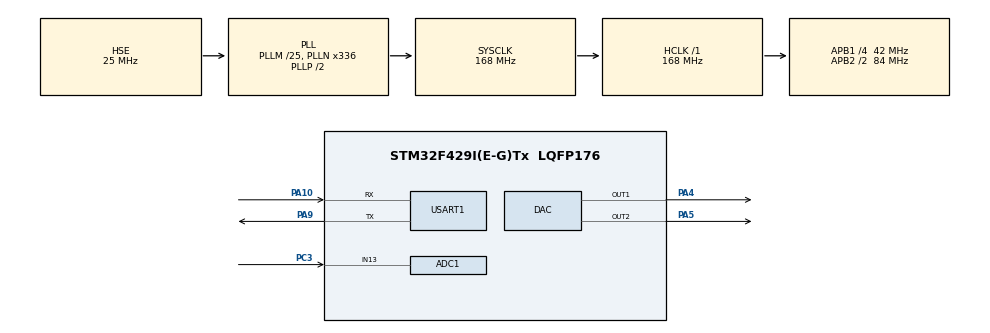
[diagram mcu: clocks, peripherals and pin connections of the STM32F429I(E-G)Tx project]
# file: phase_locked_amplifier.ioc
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ADC1.Channel-5\#ChannelRegularConversion=ADC_CHANNEL_13
ADC1.DMAContinuousRequests=ENABLE
ADC1.ExternalTrigConv=ADC_EXTERNALTRIGCONV_T2_CC2
ADC1.ExternalTrigConvEdge=ADC_EXTERNALTRIGCONVEDGE_RISING
ADC1.NbrOfConversionFlag=1
ADC1.Rank-5\#ChannelRegularConversion=1
ADC1.SamplingTime-5\#ChannelRegularConversion=ADC_SAMPLETIME_3CYCLES
ADC1.master=1
DAC.DAC_Trigger=DAC_TRIGGER_T2_TRGO
DAC.DAC_Trigger2=DAC_TRIGGER_T2_TRGO
Dma.ADC1.0.Direction=DMA_PERIPH_TO_MEMORY
Dma.ADC1.0.FIFOMode=DMA_FIFOMODE_DISABLE
Dma.ADC1.0.Instance=DMA2_Stream0
Dma.ADC1.0.MemDataAlignment=DMA_MDATAALIGN_HALFWORD
Dma.ADC1.0.MemInc=DMA_MINC_ENABLE
Dma.ADC1.0.Mode=DMA_CIRCULAR
Dma.ADC1.0.PeriphDataAlignment=DMA_PDATAALIGN_HALFWORD
Dma.ADC1.0.PeriphInc=DMA_PINC_DISABLE
Dma.ADC1.0.Priority=DMA_PRIORITY_LOW
Dma.DAC1.1.Direction=DMA_MEMORY_TO_PERIPH
Dma.DAC1.1.FIFOMode=DMA_FIFOMODE_DISABLE
Dma.DAC1.1.Instance=DMA1_Stream5
Dma.DAC1.1.MemDataAlignment=DMA_MDATAALIGN_HALFWORD
Dma.DAC1.1.MemInc=DMA_MINC_ENABLE
Dma.DAC1.1.Mode=DMA_CIRCULAR
Dma.DAC1.1.PeriphDataAlignment=DMA_PDATAALIGN_HALFWORD
Dma.DAC1.1.PeriphInc=DMA_PINC_DISABLE
Dma.DAC1.1.Priority=DMA_PRIORITY_LOW
Dma.DAC2.2.Direction=DMA_MEMORY_TO_PERIPH
Dma.DAC2.2.FIFOMode=DMA_FIFOMODE_DISABLE
Dma.DAC2.2.Instance=DMA1_Stream6
Dma.DAC2.2.MemDataAlignment=DMA_MDATAALIGN_HALFWORD
Dma.DAC2.2.MemInc=DMA_MINC_ENABLE
Dma.DAC2.2.Mode=DMA_CIRCULAR
Dma.DAC2.2.PeriphDataAlignment=DMA_PDATAALIGN_HALFWORD
Dma.DAC2.2.PeriphInc=DMA_PINC_DISABLE
Dma.DAC2.2.Priority=DMA_PRIORITY_LOW
Dma.Request0=ADC1
Dma.Request1=DAC1
Dma.Request2=DAC2
Mcu.Family=STM32F4
Mcu.Name=STM32F429I(E-G)Tx
Mcu.Package=LQFP176
NVIC.ADC_IRQn=true\:0\:0\:false\:false\:true\:true\:true\:true
NVIC.DMA1_Stream5_IRQn=true\:0\:0\:false\:false\:true\:false\:true\:true
NVIC.DMA1_Stream6_IRQn=true\:0\:0\:false\:false\:true\:false\:true\:true
NVIC.DMA2_Stream0_IRQn=true\:0\:0\:false\:false\:true\:false\:true\:true
NVIC.PriorityGroup=NVIC_PRIORITYGROUP_4
NVIC.USART1_IRQn=true\:0\:0\:false\:false\:true\:true\:true\:true
PA10.Mode=Asynchronous
PA10.Signal=USART1_RX
PA4.Signal=COMP_DAC1_group
PA5.Signal=COMP_DAC2_group
PA9.Mode=Asynchronous
PA9.Signal=USART1_TX
PC14/OSC32_IN.Mode=LSE-External-Oscillator
PC14/OSC32_IN.Signal=RCC_OSC32_IN
PC15/OSC32_OUT.Mode=LSE-External-Oscillator
PC15/OSC32_OUT.Signal=RCC_OSC32_OUT
PC3.Signal=ADCx_IN13
PH0/OSC_IN.Mode=HSE-External-Oscillator
PH0/OSC_IN.Signal=RCC_OSC_IN
PH1/OSC_OUT.Mode=HSE-External-Oscillator
PH1/OSC_OUT.Signal=RCC_OSC_OUT
ProjectManager.HeapSize=0x200
ProjectManager.StackSize=0x400
ProjectManager.TargetToolchain=MDK-ARM V5.32
RCC.48MHZClocksFreq_Value=84000000
RCC.AHBFreq_Value=168000000
RCC.APB1CLKDivider=RCC_HCLK_DIV4
RCC.APB1Freq_Value=42000000
RCC.APB1TimFreq_Value=84000000
RCC.APB2CLKDivider=RCC_HCLK_DIV2
RCC.APB2Freq_Value=84000000
RCC.APB2TimFreq_Value=168000000
RCC.CortexFreq_Value=168000000
RCC.HCLKFreq_Value=168000000
RCC.HSE_VALUE=25000000
RCC.HSI_VALUE=16000000
RCC.PLLM=25
RCC.PLLN=336
RCC.PLLSourceVirtual=RCC_PLLSOURCE_HSE
RCC.SYSCLKFreq_VALUE=168000000
RCC.SYSCLKSource=RCC_SYSCLKSOURCE_PLLCLK
RCC.VCOOutputFreq_Value=336000000
SH.ADCx_IN13.0=ADC1_IN13,IN13
SH.COMP_DAC1_group.0=DAC_OUT1,DAC_OUT1
SH.COMP_DAC2_group.0=DAC_OUT2,DAC_OUT2
TIM2.Channel-PWM\ Generation2\ No\ Output=TIM_CHANNEL_2
TIM2.OCMode_PWM-PWM\ Generation2\ No\ Output=TIM_OCMODE_PWM1
TIM2.Period=10-1
TIM2.Prescaler=84-1
TIM2.Pulse-PWM\ Generation2\ No\ Output=5-1
TIM2.TIM_MasterOutputTrigger=TIM_TRGO_UPDATE
USART1.VirtualMode=VM_ASYNC
VP_TIM2_VS_ClockSourceINT.Mode=Internal
VP_TIM2_VS_no_output2.Mode=PWM Generation2 No Output
board=custom

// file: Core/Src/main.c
/* USER CODE BEGIN Header */
/**
  ******************************************************************************
  * @file           : main.c
  * @brief          : Main program body
  ******************************************************************************
  * @attention
  *
  * Copyright (c) 2025 STMicroelectronics.
  * All rights reserved.
  *
  * This software is licensed under terms that can be found in the LICENSE file
  * in the root directory of this software component.
  * If no LICENSE file comes with this software, it is provided AS-IS.
  *
  ******************************************************************************
  */
/* USER CODE END Header */
#include "main.h"
#include "adc.h"
#include "dac.h"
#include "dma.h"
#include "tim.h"
#include "usart.h"
#include "gpio.h"

/* USER CODE BEGIN Includes */
#include "stdio.h"
#include <string.h>
#include <stdlib.h>
#include <math.h>    // 需要链接 -lm
#include <time.h>    // 添加time.h用于计时
/* USER CODE END Includes */

/* USER CODE BEGIN PD */
// --- 全局常量定义 ---
#ifndef M_PI
#define M_PI (3.14159265358979323846f) // 定义 PI (float)
#endif

// --- 输出模式控制 ---
typedef enum {
    OUTPUT_MODE_RECOVERED_SIGNAL = 1,
    OUTPUT_MODE_INTERNAL_REF_SIGNALS = 2,
    OUTPUT_MODE_REF_COS_AND_RECOVERED = 3
} OutputMode;

// 全局变量，用于控制输出模式
OutputMode g_output_mode = OUTPUT_MODE_REF_COS_AND_RECOVERED;

// --- 可配置参数 ---
// 信号参数
#define SAMPLING_RATE 1000 // 采样率 (Hz)，例如100kHz
#define NUM_SAMPLES ((int)(SAMPLING_RATE * SIGNAL_DURATION)) // 总采样点数
#define AVERAGE_TIME 0.2f      // 平均时间窗口长度（秒）
#define BUFFER_SIZE ((int)(SAMPLING_RATE * AVERAGE_TIME)) // 缓冲区大小

// 待测信号1参数 (用于生成模拟输入)
#define SIGNAL1_DURATION 25.0f  // 第一段信号持续时间 (秒)
#define INPUT1_FREQ 50.0f       // 待测信号1中的目标频率 (Hz)
#define INPUT1_AMPLITUDE 1.3f   // 待测信号1中目标频率分量的幅值 (V)
#define INPUT1_PHASE_DEG 80.0f  // 待测信号1中目标频率分量的相位 (度)
#define INPUT1_DC_OFFSET 1.7f   // 待测信号1的直流偏置 (V)

// 待测信号2参数 (用于生成模拟输入)
#define SIGNAL2_DURATION 25.0f  // 第二段信号持续时间 (秒)
#define INPUT2_FREQ 50.1f       // 待测信号2中的目标频率 (Hz)
#define INPUT2_AMPLITUDE 1.3f   // 待测信号2中目标频率分量的幅值 (V)
#define INPUT2_PHASE_DEG 15.0f  // 待测信号2中目标频率分量的相位 (度)
#define INPUT2_DC_OFFSET 1.7f   // 待测信号2的直流偏置 (V)

#define SIGNAL_DURATION (SIGNAL1_DURATION + SIGNAL2_DURATION) // 信号总持续时间 (秒)

// 可选：添加一些噪声/干扰信号
#define NOISE_FREQ_1 150.0f    // 第一个噪声频率 (Hz)
#define NOISE_AMPLITUDE_1 0.0f // 第一个噪声幅值 (V)
#define NOISE_PHASE_DEG_1 0.0f // 第一个噪声相位 (度)

// 参考信号参数
#define REF_FREQ_OFFSET 0.01f   // 参考信号相对于待测信号的频率偏移 (Hz)
float g_ref_freq = INPUT1_FREQ + REF_FREQ_OFFSET;  // 参考信号频率 (Hz)
#define LUT_SIZE 8192        // 参考信号查找表的大小 (一个周期的点数)

// 输出控制
#define PRINT_INTERVAL_SEC 0.1f   // 每隔多少秒打印一次结果
#define PRINT_INTERVAL_SAMPLES ((int)(PRINT_INTERVAL_SEC * SAMPLING_RATE)) // 转换为对应的采样点数

// --- 全局数组和变量 ---
// float* input_signal_buffer = NULL; // 修改为指针
float ref_cos_lut[LUT_SIZE];            // 参考余弦查找表
float ref_sin_lut[LUT_SIZE];            // 参考正弦查找表

// 环形缓冲区用于存储过去一秒的数据
float* X_buffer = NULL;
float* Y_buffer = NULL;
int buffer_index = 0;
int buffer_filled = 0;
// 用于增量平均值计算的全局变量
float sum_X = 0.0f;     // X缓冲区的总和
float sum_Y = 0.0f;     // Y缓冲区的总和
int buffer_count = 0;   // 当前缓冲区中有效数据数量

// 参考信号相位累加器
double ref_phase_accumulator = 0.0f;

// 在全局变量区域添加
#define MAX_FREQ_ADJUST 1.0f    // 最大频率调整范围 (Hz)
#define PHASE_DIFF_THRESHOLD 0.002f  // 相位差阈值 (度)
#define FREQ_ADJUST_STEP 0.001f   // 频率调整步长 (Hz)

// 用于频率跟踪的变量
float g_last_phase = 0.0f;      // 上一次的相位值
float g_last_freq_adjust_time = 0.0f;  // 上次频率调整的时间（秒）
int g_sample_count = 0;         // 总采样计数，用于时间计算

#define WINDOW_TIME AVERAGE_TIME  // 窗口时间长度
#define WINDOW_SIZE ((int)(WINDOW_TIME * SAMPLING_RATE)) // 窗口大小 (采样点数)
float g_window1_sum = 0.0f;     // 第一个窗口的相位和
float g_window2_sum = 0.0f;     // 第二个窗口的相位和
float g_window3_sum = 0.0f;     // 第三个窗口的相位和
float g_window4_sum = 0.0f;     // 第四个窗口的相位和
int g_window1_count = 0;        // 第一个窗口的计数
int g_window2_count = 0;        // 第二个窗口的计数
int g_window3_count = 0;        // 第三个窗口的计数
int g_window4_count = 0;        // 第四个窗口的计数
int i = 0;                      // 循环计数器
int loop_count = 0;             // 循环计数器,用于控制循环计算速度

// --- 函数声明 ---
void generate_input_signal_buffer(void);
void generate_reference_lut(void);
void get_reference_samples(float* cos_val, float* sin_val);
void calculate_amplitude_and_phase(float X, float Y, float* amplitude, float* phase_deg);
float get_simulated_adc_sample(int sample_index);
void update_reference_frequency(float new_freq);
int auto_frequency_tracking(float current_phase);

uint8_t flag_state = 1; // 用于标记ADC采集数组是否处于半满状态

/*ADC采集储存数组*/
#define ADC_BUFFER_LENGTH 1000 //(双数)
#define ADC_BUFFER_HALF_LENGTH (ADC_BUFFER_LENGTH / 2) // 半个缓冲区长度
uint16_t input_signal_buffer[ADC_BUFFER_LENGTH] ;
float adc_voltage;//ADC转换电压值

uint16_t output_chanel_1[ADC_BUFFER_LENGTH]; // 输出通道1
uint16_t output_chanel_2[ADC_BUFFER_LENGTH]; // 输出通道2

/*目标频率,输出模式*/
uint16_t f;
uint8_t output_mode;
/*UART中断接收接收字符*/
#define RX_BUFFER_SIZE 64
uint8_t rx_buffer[RX_BUFFER_SIZE];  // 用于UART中断接收
uint8_t rx_index = 0;

/* USER CODE END PD */

void SystemClock_Config(void);

int main(void)
{

  /* MCU Configuration--------------------------------------------------------*/

  /* Reset of all peripherals, Initializes the Flash interface and the Systick. */
  HAL_Init();

  /* Configure the system clock */
  SystemClock_Config();

  /* Initialize all configured peripherals */
  MX_GPIO_Init();
  MX_DMA_Init();
  MX_ADC1_Init();
  MX_USART1_UART_Init();
  MX_TIM2_Init();
  MX_DAC_Init();
  /* USER CODE BEGIN 2 */
	printf("Phase Locked Amplifier.\r\n");
	//开启DMA、PWM
	HAL_ADC_Start_DMA(&hadc1,(uint32_t *)&input_signal_buffer,ADC_BUFFER_LENGTH);
	HAL_TIM_PWM_Start(&htim2, TIM_CHANNEL_2);
	HAL_DAC_Start_DMA(&hdac, DAC_CHANNEL_1, (uint32_t *)input_signal_buffer, ADC_BUFFER_LENGTH, DAC_ALIGN_12B_R);
	HAL_DAC_Start_DMA(&hdac, DAC_CHANNEL_2, (uint32_t *)output_chanel_2, ADC_BUFFER_LENGTH, DAC_ALIGN_12B_R);
	//开启命令接收
	HAL_UART_Receive_IT(&huart1, &rx_buffer[rx_index], 1);

  /* USER CODE END 2 */

  /* Infinite loop */
  /* USER CODE BEGIN WHILE */
	int ppp=0;
    while (1) {
				ppp = loop_count;
        // 记数超过一千次，则while循环不执行后续任务 TODO数组半满的时候把loop_count清零
        while (loop_count >= ADC_BUFFER_HALF_LENGTH) {

        }
        if (loop_count == 0) {
            flag_state = 1 - flag_state; // 切换标志位

            // 把ADC数组复制到input_signal_buffer中(暂时不做)
        }

        // // 调试，在time为30s时，更新参考频率 TODO 控制频率命令
        // float time_30s = 25.0f;
        // int sample_index_30s = (int)(time_30s * SAMPLING_RATE);
        // if (i == sample_index_30s) {
        //     update_reference_frequency(101.0f);
        // }

        // 4.1 模拟从ADC获取当前采样值
        float current_input_sample = get_simulated_adc_sample(i);

        // 4.2 从LUT获取当前参考信号样本
        float current_ref_cos, current_ref_sin; // 定义局部变量
        get_reference_samples(&current_ref_cos, &current_ref_sin); // 修正变量名

        // 4.3 混频 (Phase Sensitive Detection - PSD)
        float mixed_X = current_input_sample * current_ref_cos;
        float mixed_Y = current_input_sample * current_ref_sin;

        // 4.4 更新缓冲区并计算平均值
        float current_filtered_X, current_filtered_Y;
        // X_buffer[buffer_index] = mixed_X;
        // Y_buffer[buffer_index] = mixed_Y;
        // if (buffer_index >= BUFFER_SIZE - 1) {
        //     buffer_filled = 1;
        // }
        // // 计算平均值
        // float sum_X = 0.0f;
        // float sum_Y = 0.0f;
        // // 始终使用完整缓冲区大小进行平均，未填充的部分自动为0
        // for (int j = 0; j < BUFFER_SIZE; j++) {
        //     if (j <= buffer_index || buffer_filled) {
        //         sum_X += X_buffer[j];
        //         sum_Y += Y_buffer[j];
        //     }
        // }
        // // 始终除以完整的缓冲区大小
        // current_filtered_X = sum_X / BUFFER_SIZE;
        // current_filtered_Y = sum_Y / BUFFER_SIZE;
        // // 更新缓冲区索引
        // buffer_index = (buffer_index + 1) % BUFFER_SIZE;
        // 4.4 更新缓冲区并计算平均值 - 优化版本
        // 如果缓冲区已满，减去要被覆盖的值
        if (buffer_count >= BUFFER_SIZE) {
            sum_X -= X_buffer[buffer_index];
            sum_Y -= Y_buffer[buffer_index];
        } else {
            buffer_count++;
        }
        // 添加新值到缓冲区和总和
        X_buffer[buffer_index] = mixed_X;
        Y_buffer[buffer_index] = mixed_Y;
        sum_X += mixed_X;
        sum_Y += mixed_Y;
        // 计算平均值
        current_filtered_X = sum_X / buffer_count;
        current_filtered_Y = sum_Y / buffer_count;
        // 更新缓冲区索引
        buffer_index = (buffer_index + 1) % BUFFER_SIZE;

        // 4.5 计算幅值和相位
        float recovered_amplitude, recovered_phase_deg;
        calculate_amplitude_and_phase(current_filtered_X, current_filtered_Y, &recovered_amplitude, &recovered_phase_deg);

        // 4.5.1 执行自动频率跟踪
        int freq_adjusted = auto_frequency_tracking(recovered_phase_deg);
        if (freq_adjusted) {
            printf("时间: %.2f s, 参考频率已调整至: %.3f Hz\n",
                   (float)i / SAMPLING_RATE, g_ref_freq);
        }

        // 4.6 还原信号
        float current_time = (float)i / SAMPLING_RATE;
        float recovered_phase_rad = recovered_phase_deg * M_PI / 180.0f;
        float recovered_signal = recovered_amplitude * cosf(2.0f * M_PI * g_ref_freq * current_time - recovered_phase_rad);

        // 4.7 定期输出结果
        // // 调试内容
        // if ((i + 1) % PRINT_INTERVAL_SAMPLES == 0) {
        //     printf("time:%.4f\t input:%.4f\t X:%.4f\t Y:%.4f\t amp:%.4f\t phase:%.2f\t rec:%.4f\t freq:%.4f\n",
        //            current_time,
        //            current_input_sample,
        //            current_filtered_X,
        //            current_filtered_Y,
        //            recovered_amplitude,
        //            recovered_phase_deg,
        //            recovered_signal,
        //            g_ref_freq);
        //     fflush(stdout);
        // }

        // 第一部分输出：重建信号的频率、幅值和相位  TODO串口输出
        // 每秒输出一次
        if (i % 100 == 0) {
    printf("Frequency: %.2f Hz, Amplitude: %.4f V, Phase: %.2f deg\n", g_ref_freq, recovered_amplitude, recovered_phase_deg);
}

        // 根据输出模式添加新的输出  TODO DAC输出
        // printf("--- 当前输出模式 %d 的额外信息 ---\n", g_output_mode);
        switch (g_output_mode) {
            case OUTPUT_MODE_RECOVERED_SIGNAL:
                // printf("待测信号: %.4f, 重建信号: %.4f V\n", current_input_sample, recovered_signal);
                // fprintf(fp_2, "%.4f,%.4f\n", current_input_sample, recovered_signal);
                if (flag_state == 0) {
                    output_chanel_1[i] = (uint16_t)(current_input_sample * 4095 / 3.3);
                    output_chanel_2[i] = (uint16_t)(recovered_signal * 4095 / 3.3);
                } else {
                    output_chanel_1[i+ADC_BUFFER_HALF_LENGTH] = (uint16_t)(current_input_sample * 4095 / 3.3);
                    output_chanel_2[i+ADC_BUFFER_HALF_LENGTH] = (uint16_t)(recovered_signal * 4095 / 3.3);
                }
                break;
            case OUTPUT_MODE_INTERNAL_REF_SIGNALS:
                // printf("内部参考信号 - 余弦: %.4f, 正弦: %.4f\n", current_ref_cos, current_ref_sin);
                // fprintf(fp_2, "%.4f,%.4f\n", current_ref_cos, current_ref_sin);
                if (flag_state == 0) {
                    output_chanel_1[i] = (uint16_t)(current_ref_cos * 4095 / 3.3);
                    output_chanel_2[i] = (uint16_t)(current_ref_sin * 4095 / 3.3);
                } else {
                    output_chanel_1[i+ADC_BUFFER_HALF_LENGTH] = (uint16_t)(current_ref_cos * 4095 / 3.3);
                    output_chanel_2[i+ADC_BUFFER_HALF_LENGTH] = (uint16_t)(current_ref_sin * 4095 / 3.3);
                }
                break;
            case OUTPUT_MODE_REF_COS_AND_RECOVERED:
                // printf("参考余弦: %.4f, 重建信号: %.4f V\n", current_ref_cos, recovered_signal);
                // fprintf(fp_2, "%.4f,%.4f\n", current_ref_cos, recovered_signal);
                if (flag_state == 0) {
                    output_chanel_1[i] = (uint16_t)(current_ref_cos * 4095 / 3.3);
                    output_chanel_2[i] = (uint16_t)(recovered_signal * 4095 / 3.3);
                } else {
                    output_chanel_1[i+ADC_BUFFER_HALF_LENGTH] = (uint16_t)(current_ref_cos * 4095 / 3.3);
                    output_chanel_2[i+ADC_BUFFER_HALF_LENGTH] = (uint16_t)(recovered_signal * 4095 / 3.3);
                }
                break;
        }

        // // 输出最后100个样本 (调试用)
        // if (i >= NUM_SAMPLES - 100) {
        //     printf("样本 %d: 输入=%.4f V, X_filt=%.4f, Y_filt=%.4f, 幅值=%.4f V, 相位=%.2f 度\n",
        //            i, current_input_sample, current_filtered_X, current_filtered_Y,
        //            recovered_amplitude, recovered_phase_deg);
        // }

        i++; // 在循环末尾递增采样索引
        loop_count++;
				printf("i:%d  loop count:%d\n",i,loop_count);
        // // 调试用的退出条件
        // if (i >= NUM_SAMPLES) {
        //     break;
        // }

    /* USER CODE END WHILE */

  }
}

void SystemClock_Config(void)
{
  RCC_OscInitTypeDef RCC_OscInitStruct = {0};
  RCC_ClkInitTypeDef RCC_ClkInitStruct = {0};

  /** Configure the main internal regulator output voltage
  */
  __HAL_RCC_PWR_CLK_ENABLE();
  __HAL_PWR_VOLTAGESCALING_CONFIG(PWR_REGULATOR_VOLTAGE_SCALE1);

  /** Initializes the RCC Oscillators according to the specified parameters
  * in the RCC_OscInitTypeDef structure.
  */
  RCC_OscInitStruct.OscillatorType = RCC_OSCILLATORTYPE_HSE;
  RCC_OscInitStruct.HSEState = RCC_HSE_ON;
  RCC_OscInitStruct.PLL.PLLState = RCC_PLL_ON;
  RCC_OscInitStruct.PLL.PLLSource = RCC_PLLSOURCE_HSE;
  RCC_OscInitStruct.PLL.PLLM = 25;
  RCC_OscInitStruct.PLL.PLLN = 336;
  RCC_OscInitStruct.PLL.PLLP = RCC_PLLP_DIV2;
  RCC_OscInitStruct.PLL.PLLQ = 4;
  if (HAL_RCC_OscConfig(&RCC_OscInitStruct) != HAL_OK)
  {
    Error_Handler();
  }

  /** Initializes the CPU, AHB and APB buses clocks
  */
  RCC_ClkInitStruct.ClockType = RCC_CLOCKTYPE_HCLK|RCC_CLOCKTYPE_SYSCLK
                              |RCC_CLOCKTYPE_PCLK1|RCC_CLOCKTYPE_PCLK2;
  RCC_ClkInitStruct.SYSCLKSource = RCC_SYSCLKSOURCE_PLLCLK;
  RCC_ClkInitStruct.AHBCLKDivider = RCC_SYSCLK_DIV1;
  RCC_ClkInitStruct.APB1CLKDivider = RCC_HCLK_DIV4;
  RCC_ClkInitStruct.APB2CLKDivider = RCC_HCLK_DIV2;

  if (HAL_RCC_ClockConfig(&RCC_ClkInitStruct, FLASH_LATENCY_5) != HAL_OK)
  {
    Error_Handler();
  }
}

/* USER CODE BEGIN 4 */
/*ADC*/
//ADC采集一半，进入中断
void HAL_ADC_ConvHalfCpltCallback(ADC_HandleTypeDef* hadc)
{
    if (hadc->Instance == ADC1)
    {
        // 处理 adc_buffer[0] ~ adc_buffer[ADC_BUFFER_LENGTH/2]
        loop_count = 0; // 重置循环计数器
			//printf("reset over\nloop count: %d",loop_count);
    }
}

//ADC采集完成，进入中断
void HAL_ADC_ConvCpltCallback(ADC_HandleTypeDef* hadc)
{
	if (hadc->Instance == ADC1)
	{
		/*
		//调试用
		 printf("DMA 采样完成，数据如下：\r\n");
    for (int i = 0; i < ADC_BUFFER_LENGTH; i++)
    {
			adc_voltage = (adc_buffer[i]*3.3)/4095;
     printf("%d ADC  %d  %f\r\n",i,adc_buffer[i],adc_voltage);
    }
    printf("\r\n");
		*/

	}
}
/*DAC*/
//DAC读取一半，进入中断
/*
void HAL_DAC_ConvHalfCpltCallbackCh1(DAC_HandleTypeDef* hdac)
{
    //
}
//DAC读取完成，进入中断
void HAL_DAC_ConvCpltCallbackCh1(DAC_HandleTypeDef* hdac)
{
    //printf("DAC DMA 传输完成\r\n");
}
*/
/*USART*/
void HAL_UART_RxCpltCallback(UART_HandleTypeDef *huart)
{
     if(huart->Instance == USART1)
    {
			/*设定频率值*/
        // 回车或换行符判断命令结束
        if(rx_buffer[rx_index] == '\n' || rx_buffer[rx_index] == '\r')
        {
            rx_buffer[rx_index] = '\0';  // 结束符
            rx_index = 0;

            // 判断命令格式是否正确
            if (strncmp((char *)rx_buffer, "Target Frequency ", 17) == 0)
            {
                int freq = atoi((char *)&rx_buffer[17]);  // 将字符串转换为整数
                if (freq >= 0 && freq <= 10000)  // 简单范围检查
                {
                  f = freq;
									printf("Frequency set to: %d\r\nOutput Mode set to: %d\r\n", f, output_mode);
                }
                else
                {
                    printf("Invalid frequency value\r\n");
                }
            }
						else if (strncmp((char *)rx_buffer, "Output Mode ", 12) == 0)
						{
							int mode = atoi((char *)&rx_buffer[12]);  // 将字符串转换为整数
                if (mode >= 1 && mode <= 3)  // 简单范围检查
                {
                    output_mode = mode;
                    printf("Frequency set to: %d\r\nOutput Mode set to: %d\r\n", f, output_mode);
                }
                else
                {
                    printf("Invalid Output Mode value\r\n");
                }
						}
            else
            {
                printf("Unknown command\r\n");
            }
        }
        else
        {
            rx_index++;
            if(rx_index >= RX_BUFFER_SIZE)
            {
                rx_index = 0;  // 防止越界
                printf("Command too long\r\n");
            }
        }

        // 继续接收下一个字节
        HAL_UART_Receive_IT(&huart1, &rx_buffer[rx_index], 1);
    }

}

/**
 * @brief 从预生成的缓冲区获取一个模拟的ADC样本
 * @param sample_index 当前的样本索引
 * @return 该样本的电压值
 */
float get_simulated_adc_sample(int sample_index) {
    // if (sample_index >= 0 && sample_index < NUM_SAMPLES) {
    //     return input_signal_buffer[sample_index];
    // }
    if (flag_state == 0) {
        // 如果标志位为0，返回第一个缓冲区的值
        return (float)input_signal_buffer[sample_index] * 3.3 / 4095;
    } else {
        // 如果标志位为1，返回第二个缓冲区的值
        return (float)input_signal_buffer[sample_index + ADC_BUFFER_HALF_LENGTH] * 3.3 / 4095;
    }

}

/**
 * @brief 生成输入信号缓冲区
 * 该函数生成两个不同频率的正弦信号，并添加噪声成分。
 * 信号1和信号2的持续时间由 SIGNAL1_DURATION 和 SIGNAL2_DURATION 定义。
 */
void generate_input_signal_buffer(void) {
    float t;

    // 计算信号1和信号2的采样点边界
    int signal1_samples = (int)(SIGNAL1_DURATION * SAMPLING_RATE);
    int signal2_samples = (int)(SIGNAL2_DURATION * SAMPLING_RATE);

    // 确保不超过总采样点数
    if (signal1_samples + signal2_samples > NUM_SAMPLES) {
        signal1_samples = NUM_SAMPLES / 2;
        signal2_samples = NUM_SAMPLES - signal1_samples;
    }

    for (int i = 0; i < NUM_SAMPLES; ++i) {
        t = (float)i / SAMPLING_RATE;

        if (i < signal1_samples) {
            // 生成信号1
            float phase_rad1 = INPUT1_PHASE_DEG * M_PI / 180.0f;
            float noise_phase_rad1 = NOISE_PHASE_DEG_1 * M_PI / 180.0f;

            float target_component = INPUT1_AMPLITUDE * cosf(2.0f * M_PI * INPUT1_FREQ * t - phase_rad1);
            float noise_component = NOISE_AMPLITUDE_1 * cosf(2.0f * M_PI * NOISE_FREQ_1 * t - noise_phase_rad1);

            input_signal_buffer[i] = INPUT1_DC_OFFSET + target_component + noise_component;
        } else {
            // 生成信号2
            float phase_rad2 = INPUT2_PHASE_DEG * M_PI / 180.0f;
            float noise_phase_rad1 = NOISE_PHASE_DEG_1 * M_PI / 180.0f;

            float target_component = INPUT2_AMPLITUDE * cosf(2.0f * M_PI * INPUT2_FREQ * t - phase_rad2);
            float noise_component = NOISE_AMPLITUDE_1 * cosf(2.0f * M_PI * NOISE_FREQ_1 * t - noise_phase_rad1);

            input_signal_buffer[i] = INPUT2_DC_OFFSET + target_component + noise_component;
        }
    }
}

/**
 * @brief 生成参考正余弦查找表 (LUT)
 * LUT覆盖一个完整的 2*PI 周期
 */
void generate_reference_lut(void) {
    for (int i = 0; i < LUT_SIZE; ++i) {
        float angle = 2.0f * M_PI * (float)i / (float)LUT_SIZE;
        ref_cos_lut[i] = cosf(angle);
        ref_sin_lut[i] = sinf(angle);
    }
}

/**
 * @brief 更新参考信号频率
 * @param new_freq 新的参考信号频率 (Hz)
 */
void update_reference_frequency(float new_freq) {
    g_ref_freq = new_freq;
    // 重置相位累加器
    ref_phase_accumulator = 0.0f;
    // 记录本次频率调整的时间
    float current_time = (float)g_sample_count / SAMPLING_RATE;
    g_last_freq_adjust_time = current_time;
}

/**
 * @brief 从查找表获取当前周期的参考正余弦值，并更新相位累加器
 *
 * @param cos_val 指针，用于返回当前的余弦参考值
 * @param sin_val 指针，用于返回当前的正弦参考值
 */
void get_reference_samples(float* cos_val, float* sin_val) {

    float phase_increment = (g_ref_freq / SAMPLING_RATE) * (float)LUT_SIZE;

    // // 查表方法 (四舍五入)
    // unsigned int lut_index = (unsigned int)(ref_phase_accumulator + 0.5f) % LUT_SIZE;
    // *cos_val = ref_cos_lut[lut_index];
    // *sin_val = ref_sin_lut[lut_index];

    // 使用线性插值
    float current_exact_phase = ref_phase_accumulator; // 当前的精确相位
    // 计算插值所需的整数索引和小数部分
    // floorf确保向下取整, 例如 current_exact_phase = 3.7, index_floor = 3
    // current_exact_phase = 3.0, index_floor = 3
    unsigned int index_floor = (unsigned int)floorf(current_exact_phase);
    float fraction = current_exact_phase - (float)index_floor;
    unsigned int lut_idx0 = index_floor % LUT_SIZE;
    unsigned int lut_idx1 = (index_floor + 1) % LUT_SIZE;
    // 对余弦分量进行线性插值
    float cos_val0 = ref_cos_lut[lut_idx0];
    float cos_val1 = ref_cos_lut[lut_idx1];
    *cos_val = cos_val0 + fraction * (cos_val1 - cos_val0);
    // 对正弦分量进行线性插值
    float sin_val0 = ref_sin_lut[lut_idx0];
    float sin_val1 = ref_sin_lut[lut_idx1];
    *sin_val = sin_val0 + fraction * (sin_val1 - sin_val0);

    // 更新相位累加器
    ref_phase_accumulator += phase_increment;
    if (ref_phase_accumulator >= (float)LUT_SIZE) {
         ref_phase_accumulator = fmodf(ref_phase_accumulator, (float)LUT_SIZE);
    }
}
// void get_reference_samples(float* cos_val, float* sin_val) {
//     // 静态整数计数器，跟踪总的采样点数
//     static unsigned int n_sample_count = 0;
//     // 1. 计算从开始到现在的总相位（未进行周期缠绕）
//     float total_unwrapped_phase = (float)n_sample_count * (REF_FREQ / SAMPLING_RATE) * (float)LUT_SIZE;
//     // 2. 将总相位映射到当前 LUT 的一个周期内 [0, LUT_SIZE)
//     float current_phase_in_lut = fmodf(total_unwrapped_phase, (float)LUT_SIZE);
//     // 3. 计算 LUT 索引，使用 +0.5f 实现四舍五入到最近的整数索引
//     unsigned int lut_index = (unsigned int)(current_phase_in_lut + 0.5f);

//     // 4. 取模确保索引在 [0, LUT_SIZE-1] 范围内
//     lut_index %= LUT_SIZE;
//     // 5. 从查找表获取参考值
//     *cos_val = ref_cos_lut[lut_index];
//     *sin_val = ref_sin_lut[lut_index];

//     // 6. 增加采样计数
//     n_sample_count++;
// }

/**
 * @brief 根据 X 和 Y 计算原始信号的幅值和相位
 * 输入信号模型: A_in * cos(2*pi*f*t - phi_in)
 * X = (A_in/2) * cos(phi_in)
 * Y = (A_in/2) * sin(phi_in)
 *
 * @param X 相关滤波得到的 X 分量 (已滤波)
 * @param Y 相关滤波得到的 Y 分量 (已滤波)
 * @param amplitude 输出参数，存储计算得到的幅值 (A_in)
 * @param phase_deg 输出参数，存储计算得到的相位 (phi_in, 度)
 */
void calculate_amplitude_and_phase(float X, float Y, float* amplitude, float* phase_deg) {
    *amplitude = 2.0f * sqrtf(X * X + Y * Y);
    float phase_rad = atan2f(Y, X);
    *phase_deg = phase_rad * 180.0f / M_PI;
}

/**
 * @brief 自动频率跟踪算法
 * @param current_phase 当前测量的相位值 (度)
 * @return 是否需要调整频率
 */
int auto_frequency_tracking(float current_phase) {
    // 获取当前时间
    float current_time = (float)g_sample_count / SAMPLING_RATE;
    g_sample_count++;
      // 如果距离上次频率调整的时间小于AVERAGE_TIME，直接返回
    if (current_time - g_last_freq_adjust_time < AVERAGE_TIME*4) {
        // 重置所有窗口数据
        g_window1_sum = 0.0f;
        g_window2_sum = 0.0f;
        g_window3_sum = 0.0f;
        g_window4_sum = 0.0f;
        g_window1_count = 0;
        g_window2_count = 0;
        g_window3_count = 0;
        g_window4_count = 0;
        return 0;
    }
      // 根据当前窗口状态更新相应的累加器
    if (g_window1_count < WINDOW_SIZE) {
        g_window1_sum += current_phase;
        g_window1_count++;
    } else if (g_window2_count < WINDOW_SIZE) {
        g_window2_sum += current_phase;
        g_window2_count++;
    } else if (g_window3_count < WINDOW_SIZE) {
        g_window3_sum += current_phase;
        g_window3_count++;
    } else if (g_window4_count < WINDOW_SIZE) {
        g_window4_sum += current_phase;
        g_window4_count++;
    }
      // 当四个窗口都填满时，进行比较和判断
    if (g_window1_count == WINDOW_SIZE && g_window2_count == WINDOW_SIZE &&
        g_window3_count == WINDOW_SIZE && g_window4_count == WINDOW_SIZE) {
        // 计算四个窗口的平均相位
        float avg_phase1 = g_window1_sum / WINDOW_SIZE;
        float avg_phase2 = g_window2_sum / WINDOW_SIZE;
        float avg_phase3 = g_window3_sum / WINDOW_SIZE;
        float avg_phase4 = g_window4_sum / WINDOW_SIZE;

        // 计算窗口之间的相位差
        float phase_diff_21 = avg_phase2 - avg_phase1; // 窗口2-窗口1
        float phase_diff_32 = avg_phase3 - avg_phase2; // 窗口3-窗口2
        float phase_diff_43 = avg_phase4 - avg_phase3; // 窗口4-窗口3

        // 处理相位跳变
        if (phase_diff_21 > 180.0f) phase_diff_21 -= 360.0f;
        if (phase_diff_21 < -180.0f) phase_diff_21 += 360.0f;
        if (phase_diff_32 > 180.0f) phase_diff_32 -= 360.0f;
        if (phase_diff_32 < -180.0f) phase_diff_32 += 360.0f;
        if (phase_diff_43 > 180.0f) phase_diff_43 -= 360.0f;
        if (phase_diff_43 < -180.0f) phase_diff_43 += 360.0f;

        // 只有当三个相位差都超过阈值时才调整频率
        if (fabsf(phase_diff_21) > PHASE_DIFF_THRESHOLD &&
            fabsf(phase_diff_32) > PHASE_DIFF_THRESHOLD &&
            fabsf(phase_diff_43) > PHASE_DIFF_THRESHOLD) {
            // 使用最后一个相位差作为频率调整的依据
            float phase_diff = phase_diff_43; // 使用最新的相位差

            // 理论精确补偿 (Δf = Δφ / (360 × T_window))
            float freq_adjust = -phase_diff / (360.0f * WINDOW_TIME);
            printf("时间: %.2f s, 窗口1平均相位: %.6f, 窗口2平均相位: %.6f, 窗口3平均相位: %.6f, 窗口4平均相位: %.6f\n",
                   current_time, avg_phase1, avg_phase2, avg_phase3, avg_phase4);
            printf("相位差(2-1): %.6f, 相位差(3-2): %.6f, 相位差(4-3): %.6f, freq_adjust: %.6f\n",
                   phase_diff_21, phase_diff_32, phase_diff_43, freq_adjust);

            // 限制调整范围
            if (freq_adjust > MAX_FREQ_ADJUST) freq_adjust = MAX_FREQ_ADJUST;
            if (freq_adjust < -MAX_FREQ_ADJUST) freq_adjust = -MAX_FREQ_ADJUST;

            // 更新参考频率
            float new_freq = g_ref_freq + freq_adjust;
            printf("new_freq: %.6f\n", new_freq);
            update_reference_frequency(new_freq);

            // 重置所有窗口数据
            g_window1_sum = 0.0f;
            g_window2_sum = 0.0f;
            g_window3_sum = 0.0f;
            g_window4_sum = 0.0f;
            g_window1_count = 0;
            g_window2_count = 0;
            g_window3_count = 0;
            g_window4_count = 0;

            return 1;  // 表示频率已调整
        }

        // 准备下一轮比较：将窗口数据前移
        g_window1_sum = g_window2_sum;
        g_window2_sum = g_window3_sum;
        g_window3_sum = g_window4_sum;
        g_window4_sum = 0.0f;
        g_window1_count = g_window2_count;
        g_window2_count = g_window3_count;
        g_window3_count = g_window4_count;
        g_window4_count = 0;
    }

    g_last_phase = current_phase;
    return 0;  // 表示频率未调整
}

/* USER CODE END 4 */

void Error_Handler(void)
{
  __disable_irq();
  while (1)
  {
  }
}
